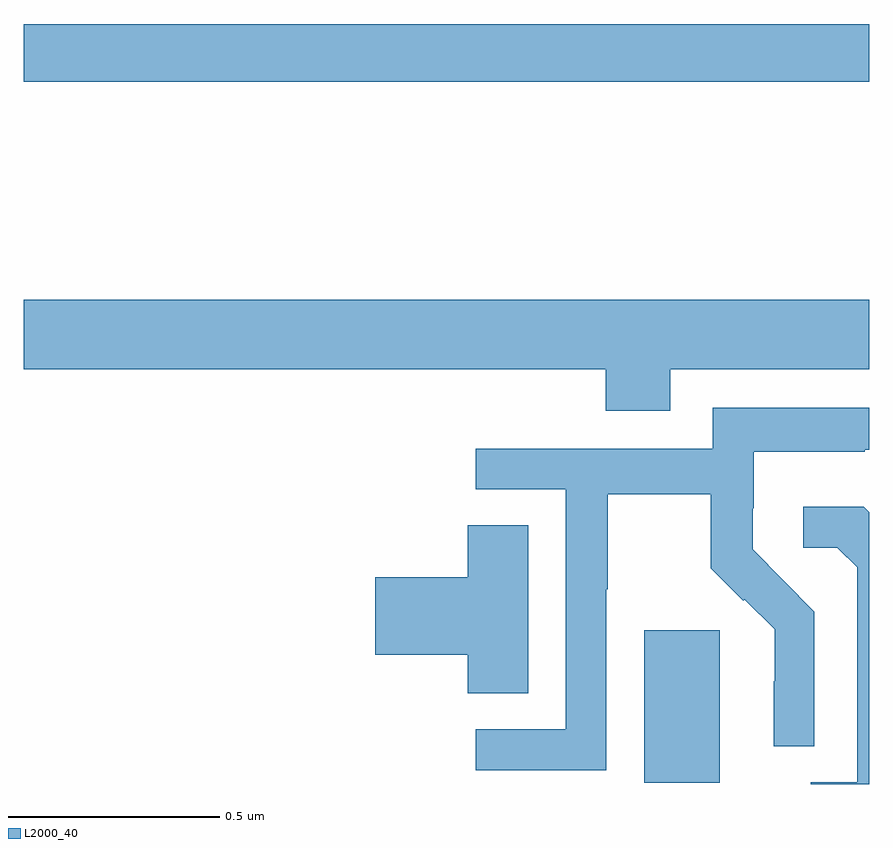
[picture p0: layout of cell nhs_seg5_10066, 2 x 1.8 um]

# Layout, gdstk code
import gdstk
lib = gdstk.Library(unit=1e-6, precision=1e-09)
def R(c, l, rs):  # rectangles x0, y0, x1, y1
    for r in rs: c.add(gdstk.rectangle(r[:2], r[2:], *l))
def P(c, l, *ps):  # polygons
    for p in ps: c.add(gdstk.Polygon(p, *l))
L2000_40 = (2000, 40)

nhs_seg5_10066 = lib.new_cell('nhs_seg5_10066')
R(nhs_seg5_10066, L2000_40, [(243.467,835.802,243.646,836.163), (242,837.46,244,837.596)])
P(nhs_seg5_10066, L2000_40, [(243.529,836.78),(244,836.78),(244,836.944),(242,836.944),(242,836.78),(243.377,836.78),(243.377,836.681),(243.529,836.681)],
  [(243.378,836.26),(243.381,836.26),(243.381,836.484),(243.625,836.484),(243.625,836.309),(243.702,836.232),(243.705,836.235),(243.776,836.165),(243.776,836.042),(243.774,836.042),(243.774,835.888),(243.87,835.888),(243.87,836.206),(243.797,836.279),(243.798,836.28),(243.724,836.354),(243.724,836.451),(243.726,836.451),(243.726,836.585),(243.989,836.585),(243.989,836.589),(244,836.589),(244,836.689),(243.63,836.689),(243.63,836.592),(243.069,836.592),(243.069,836.496),(243.282,836.496),(243.282,835.929),(243.069,835.929),(243.069,835.831),(243.378,835.831)],
  [(244,836.441),(243.986,836.455),(243.843,836.455),(243.843,836.358),(243.924,836.358),(243.971,836.311),(243.971,835.803),(243.861,835.803),(243.861,835.799),(244,835.799)],
  [(243.193,836.411),(243.05,836.411),(243.05,836.288),(242.832,836.288),(242.832,836.105),(243.05,836.105),(243.05,836.014),(243.193,836.014)])

lib.write_gds('nhs_seg5_10066.gds')
